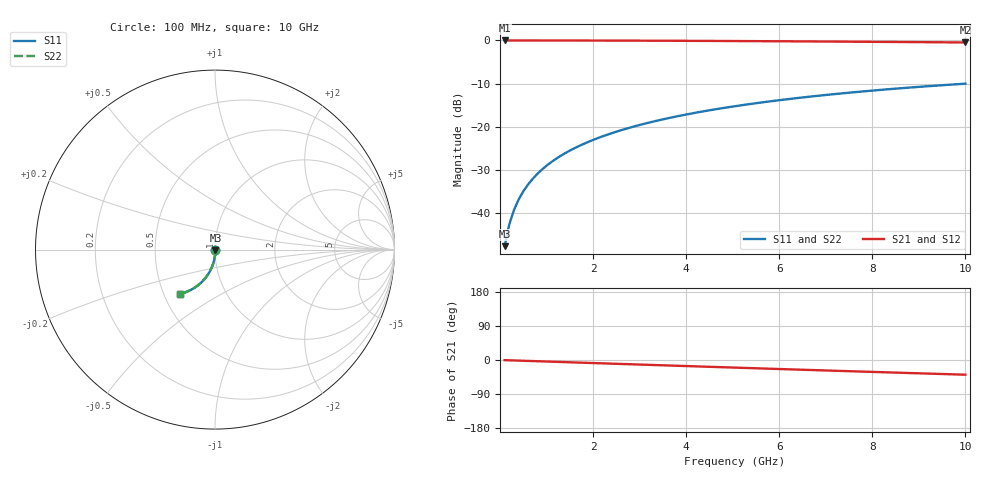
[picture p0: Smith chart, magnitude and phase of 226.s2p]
# Hz S RI R 50.00
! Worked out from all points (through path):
!   100 points, 100 MHz to 10 GHz, reference 50 ohm
!   highest |S21| = -0.02 dB at 100 MHz (marker M1); lowest = -0.5 dB at 10 GHz (marker M2)
!   group delay of S21, straight-line fit = 10.8 ps
!   lowest |S11| = -47.7 dB at 100 MHz (marker M3), VSWR 1.01, Z = 50.2 - j0.355 ohm
!   |S11| at or under -10 dB: start of sweep to end of sweep
!   |S22| runs from -47.7 to -10.0 dB; largest |S21 - S12| = 0
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1e8  0.00211 -0.00353  0.9978 -0.00699  0.9978 -0.00699  0.00211 -0.00353
2e8  0.00204 -0.00707  0.9977 -0.014  0.9977 -0.014  0.00204 -0.00707
3e8  0.00193 -0.0106  0.9975 -0.021  0.9975 -0.021  0.00193 -0.0106
4e8  0.00176 -0.0141  0.9973 -0.028  0.9973 -0.028  0.00176 -0.0141
5e8  0.00154 -0.0177  0.997 -0.0349  0.997 -0.0349  0.00154 -0.0177
6e8  0.00127 -0.0212  0.9967 -0.0419  0.9967 -0.0419  0.00127 -0.0212
7e8  0.000947 -0.0247  0.9963 -0.0489  0.9963 -0.0489  0.000947 -0.0247
8e8  0.000578 -0.0282  0.9958 -0.0559  0.9958 -0.0559  0.000578 -0.0282
9e8  0.000159 -0.0317  0.9953 -0.0628  0.9953 -0.0628  0.000159 -0.0317
1.1e9  -0.000825 -0.0387  0.994 -0.0768  0.994 -0.0768  -0.000825 -0.0387
1.4e9  -0.00267 -0.0491  0.9917 -0.0976  0.9917 -0.0976  -0.00267 -0.0491
1.8e9  -0.0058 -0.0629  0.9878 -0.1251  0.9878 -0.1251  -0.0058 -0.0629
2.1e9  -0.00864 -0.073  0.9842 -0.1457  0.9842 -0.1457  -0.00864 -0.073
2.5e9  -0.0131 -0.0864  0.9786 -0.1728  0.9786 -0.1728  -0.0131 -0.0864
2.9e9  -0.0182 -0.0994  0.9721 -0.1997  0.9721 -0.1997  -0.0182 -0.0994
3.4e9  -0.0257 -0.1152  0.9627 -0.2328  0.9627 -0.2328  -0.0257 -0.1152
4.2e9  -0.0397 -0.1392  0.945 -0.2845  0.945 -0.2845  -0.0397 -0.1392
5.1e9  -0.0584 -0.164  0.9211 -0.3405  0.9211 -0.3405  -0.0584 -0.164
5.9e9  -0.0773 -0.1838  0.8968 -0.388  0.8968 -0.388  -0.0773 -0.1838
6.7e9  -0.0979 -0.2013  0.8698 -0.4332  0.8698 -0.4332  -0.0979 -0.2013
8.4e9  -0.1465 -0.2302  0.8051 -0.5209  0.8051 -0.5209  -0.1465 -0.2302
1e10  -0.1956 -0.2466  0.7371 -0.5927  0.7371 -0.5927  -0.1956 -0.2466
